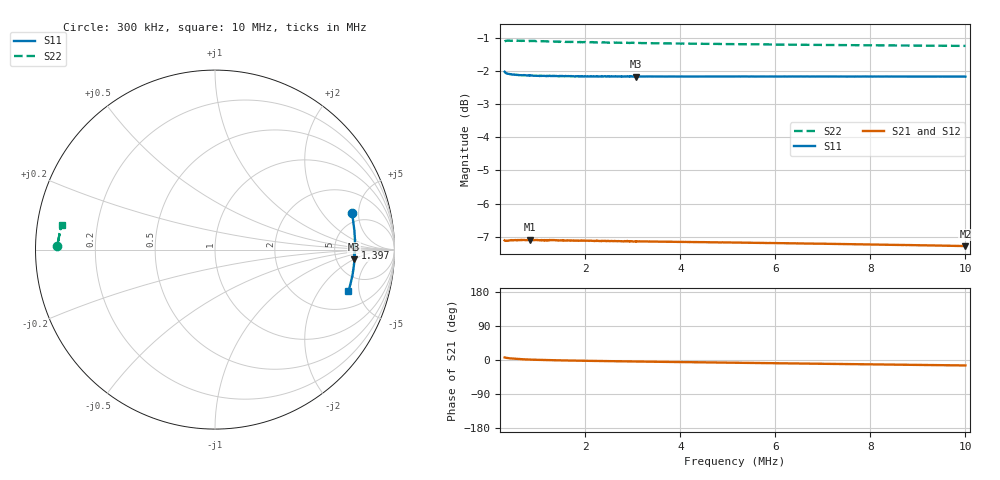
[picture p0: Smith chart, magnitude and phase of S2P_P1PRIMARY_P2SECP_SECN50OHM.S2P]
!Keysight Technologies,E5061B,MY49709559,B.05.06
!Date: Thu Apr 07 18:54:58 2022
!Data & Calibration Information:
!Freq	S11:SOLT2(ON)	S21:SOLT2(ON)	S12:SOLT2(ON)	S22:SOLT2(ON)
# Hz S RI R 50
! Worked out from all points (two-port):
!   1000 points, 300 kHz to 10 MHz, reference 50 ohm
!   highest |S21| = -7.09 dB at 834 kHz (marker M1); lowest = -7.3 dB at 10 MHz (marker M2)
!   |S21| within 3 dB of the highest: start of sweep to end of sweep
!   lowest |S11| = -2.2 dB at 3.058 MHz (marker M3), VSWR 8.01, Z = 371 - j103 ohm
!   |S11| at or under -10 dB: nowhere
!   |S22| runs from -1.3 to -1.1 dB; largest |S21 - S12| = 0.0092
!   S11 on the Smith chart (normalised r, x): 300 kHz: 3.90, +4.21; 1.397 MHz: 8.08, +0.35; 10 MHz: 3.28, -3.87
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300000  0.7654 0.2019  0.4382 0.0511  0.4304 0.0464  -0.8796 0.0176
329129.1  0.7667 0.1815  0.4383 0.0451  0.434 0.0422  -0.8814 0.0168
377677.7  0.7706 0.1555  0.4393 0.0381  0.4365 0.0356  -0.8817 0.0166
416516.5  0.7728 0.1379  0.44 0.0332  0.4374 0.0314  -0.8815 0.0174
465065.1  0.7743 0.1211  0.4405 0.0287  0.4381 0.0272  -0.8812 0.017
513613.6  0.7764 0.1073  0.441 0.0247  0.4389 0.0238  -0.8819 0.0172
581581.6  0.778 0.0913  0.4415 0.0196  0.4392 0.0191  -0.8815 0.0174
649549.6  0.7786 0.0786  0.4417 0.0163  0.4393 0.0156  -0.8811 0.0179
727227.2  0.7792 0.0661  0.4414 0.0125  0.44 0.0123  -0.881 0.0187
834034  0.7804 0.0523  0.4423 0.00836  0.4397 0.00825  -0.8805 0.02
950550.6  0.7797 0.0403  0.4417 0.00456  0.4399 0.00472  -0.88 0.0216
1096196  0.7799 0.0278  0.4414 0.000543  0.4395 0.00044  -0.8795 0.0239
1397197  0.78 0.00846  0.4412 -0.00594  0.4395 -0.00588  -0.8785 0.0279
1669069  0.7796 -0.00525  0.4409 -0.0107  0.4392 -0.0108  -0.8777 0.0315
1921522  0.7788 -0.0157  0.4405 -0.0148  0.4388 -0.0148  -0.8768 0.035
2533233  0.7779 -0.0379  0.4395 -0.0232  0.4374 -0.0234  -0.8748 0.0438
3057558  0.7761 -0.0548  0.4381 -0.0303  0.4368 -0.0302  -0.8729 0.0506
3543043  0.7757 -0.0688  0.4378 -0.0363  0.4359 -0.0361  -0.8719 0.0569
5154855  0.7704 -0.1128  0.4344 -0.0553  0.4324 -0.0546  -0.8677 0.0778
6766667  0.7634 -0.1539  0.4301 -0.0732  0.4282 -0.0723  -0.8636 0.0989
8388188  0.754 -0.1939  0.425 -0.0906  0.4231 -0.0892  -0.859 0.1194
1e7  0.7427 -0.2324  0.4189 -0.1074  0.4173 -0.1057  -0.8545 0.1398
